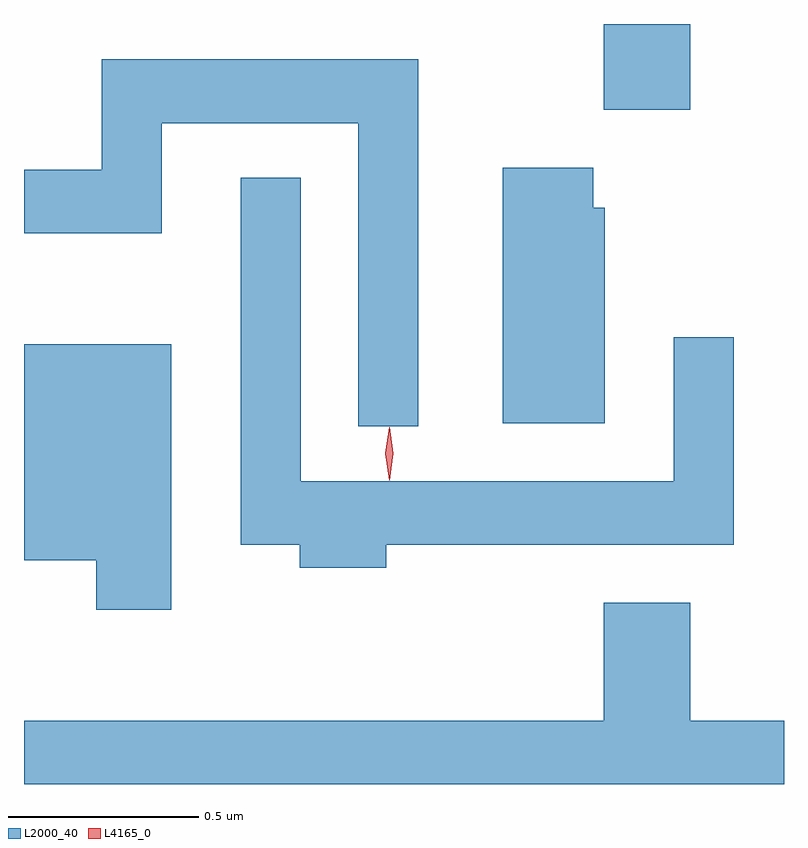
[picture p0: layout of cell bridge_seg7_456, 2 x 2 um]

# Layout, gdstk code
import gdstk
lib = gdstk.Library(unit=1e-6, precision=1e-09)
def R(c, l, rs):  # rectangles x0, y0, x1, y1
    for r in rs: c.add(gdstk.rectangle(r[:2], r[2:], *l))
def P(c, l, *ps):  # polygons
    for p in ps: c.add(gdstk.Polygon(p, *l))
L2000_40 = (2000, 40)
L4165_0 = (4165, 0)

bridge_seg7_456 = lib.new_cell('bridge_seg7_456')
R(bridge_seg7_456, L2000_40, [(1199.351,1722.851,1199.579,1723.077)])
P(bridge_seg7_456, L2000_40, [(1198.864,1722.984),(1198.031,1722.984),(1198.031,1722.694),(1197.826,1722.694),(1197.826,1722.526),(1198.189,1722.526),(1198.189,1722.816),(1198.706,1722.816),(1198.706,1722.018),(1198.864,1722.018)],
  [(1199.354,1722.594),(1199.324,1722.594),(1199.324,1722.699),(1199.086,1722.699),(1199.086,1722.026),(1199.354,1722.026)],
  [(1198.779,1721.706),(1199.694,1721.706),(1199.694,1722.253),(1199.536,1722.253),(1199.536,1721.874),(1198.554,1721.874),(1198.554,1722.673),(1198.396,1722.673),(1198.396,1721.706),(1198.551,1721.706),(1198.551,1721.646),(1198.779,1721.646)],
  [(1198.214,1722.234),(1197.826,1722.234),(1197.826,1721.666),(1198.016,1721.666),(1198.016,1721.536),(1198.214,1721.536)],
  [(1199.826,1721.244),(1199.579,1721.244),(1199.579,1721.554),(1199.351,1721.554),(1199.351,1721.244),(1197.826,1721.244),(1197.826,1721.077),(1199.826,1721.077)])
P(bridge_seg7_456, L4165_0, [(1198.787,1721.877),(1198.777,1721.947),(1198.787,1722.016),(1198.788,1722.016),(1198.788,1722.016),(1198.798,1721.947),(1198.788,1721.877),(1198.788,1721.877)],
  [(1198.788,1721.879),(1198.787,1721.88),(1198.777,1721.946),(1198.787,1722.013),(1198.788,1722.013),(1198.788,1722.013),(1198.798,1721.946),(1198.788,1721.88)])

lib.write_gds('bridge_seg7_456.gds')
